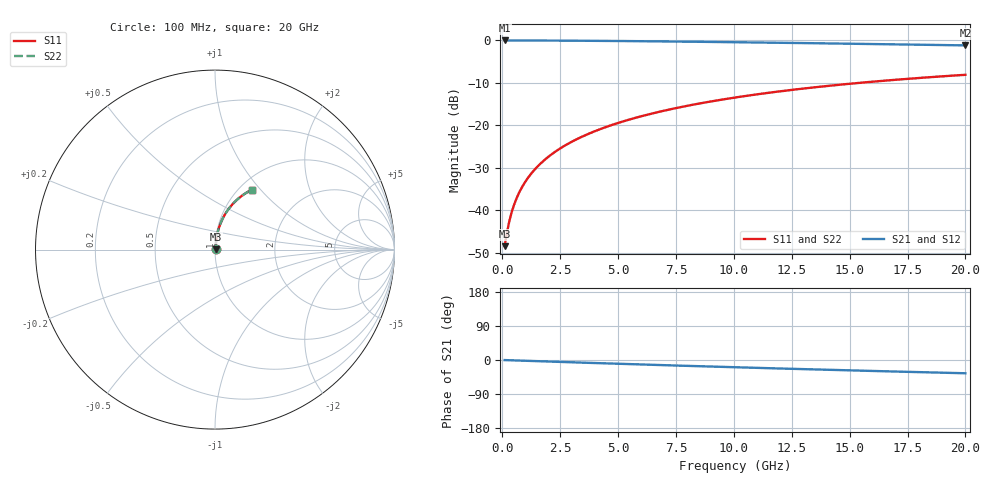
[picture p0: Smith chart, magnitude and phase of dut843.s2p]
! Touchstone file exported from HFSS 2024.1.0
!  File:  C:/UserFiles/LocalFiles/RDL_TSV_Batchsim/temp_RDL_bottom_843_1779863797.aedt
!  Generated:  02:39:25 PM May 27, 2026
!  Design:  RDL_bottom
!  Project:  temp_RDL_bottom_843_1779863797
!  Setup:  Setup1
!  Solution:  Sweep
! Variables:
!  dtsv = 10.80580581um
!  hbump = 3um
!  htsv = 51.86um
!  ldown = 457.96um
!  lrdl = 100um
!  p = 40
!  p1 = 46.72um
!  rhole = 1um
!  t = 450um
!  tdown = 3.95um
!  trdl = 3.915915916um
!  wdown = 14.03um
!  wrdl = 20um
# GHz S MA R 50.000000
! Terminal data exported
! Port[1] = RDL1_T1
! Port[2] = RDL1_T2
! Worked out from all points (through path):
!   200 points, 100 MHz to 20 GHz, reference 50 ohm
!   highest |S21| = -0.03 dB at 100 MHz (marker M1); lowest = -1.2 dB at 20 GHz (marker M2)
!   group delay of S21, straight-line fit = 4.85 ps
!   lowest |S11| = -48.5 dB at 100 MHz (marker M3), VSWR 1.01, Z = 50.3 + j0.224 ohm
!   |S11| at or under -10 dB: start of sweep to 15.45 GHz
!   |S22| runs from -48.5 to -8.1 dB; largest |S21 - S12| = 3.3e-15
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0.1  0.003763 36.3  0.997 -0.2  0.997 -0.2  0.003763 36.3
! Gamma 0 0 0 0
! Port Impedance 50 0 50 0
0.2  0.00541 54.9  0.9969 -0.4  0.9969 -0.4  0.00541 54.9
0.3  0.007335 64.0  0.9968 -0.6  0.9968 -0.6  0.007335 64.0
0.4  0.009343 69.2  0.9967 -0.8  0.9967 -0.8  0.009343 69.2
0.5  0.01138 72.4  0.9965 -1.0  0.9965 -1.0  0.01138 72.5
0.6  0.01343 74.7  0.9964 -1.2  0.9964 -1.2  0.01343 74.7
0.8  0.01756 77.6  0.9962 -1.6  0.9962 -1.6  0.01756 77.6
1.1  0.02381 80.0  0.9958 -2.2  0.9958 -2.2  0.02381 80.0
1.5  0.0322 81.6  0.9951 -3.0  0.9951 -3.0  0.0322 81.6
1.8  0.03851 82.1  0.9945 -3.7  0.9945 -3.7  0.03851 82.1
2.1  0.04485 82.4  0.9937 -4.3  0.9937 -4.3  0.04485 82.4
2.7  0.05755 82.6  0.992 -5.4  0.992 -5.4  0.05755 82.6
3.5  0.07451 82.2  0.9892 -7.0  0.9892 -7.0  0.07451 82.2
4.2  0.08938 81.6  0.9862 -8.4  0.9862 -8.4  0.08938 81.6
5  0.1064 80.7  0.9824 -9.9  0.9824 -9.9  0.1064 80.7
5.9  0.1255 79.6  0.9776 -11.6  0.9776 -11.6  0.1255 79.6
6.8  0.1445 78.4  0.9723 -13.3  0.9723 -13.3  0.1445 78.4
8.3  0.1759 76.2  0.9628 -16.0  0.9628 -16.0  0.1759 76.2
10.1  0.213 73.5  0.9503 -19.2  0.9503 -19.2  0.213 73.5
13.4  0.2781 68.3  0.9256 -24.8  0.9256 -24.8  0.2781 68.3
16.7  0.3383 63.2  0.8993 -30.0  0.8993 -30.0  0.3383 63.2
20  0.3928 58.2  0.872 -35.0  0.872 -35.0  0.3928 58.3
